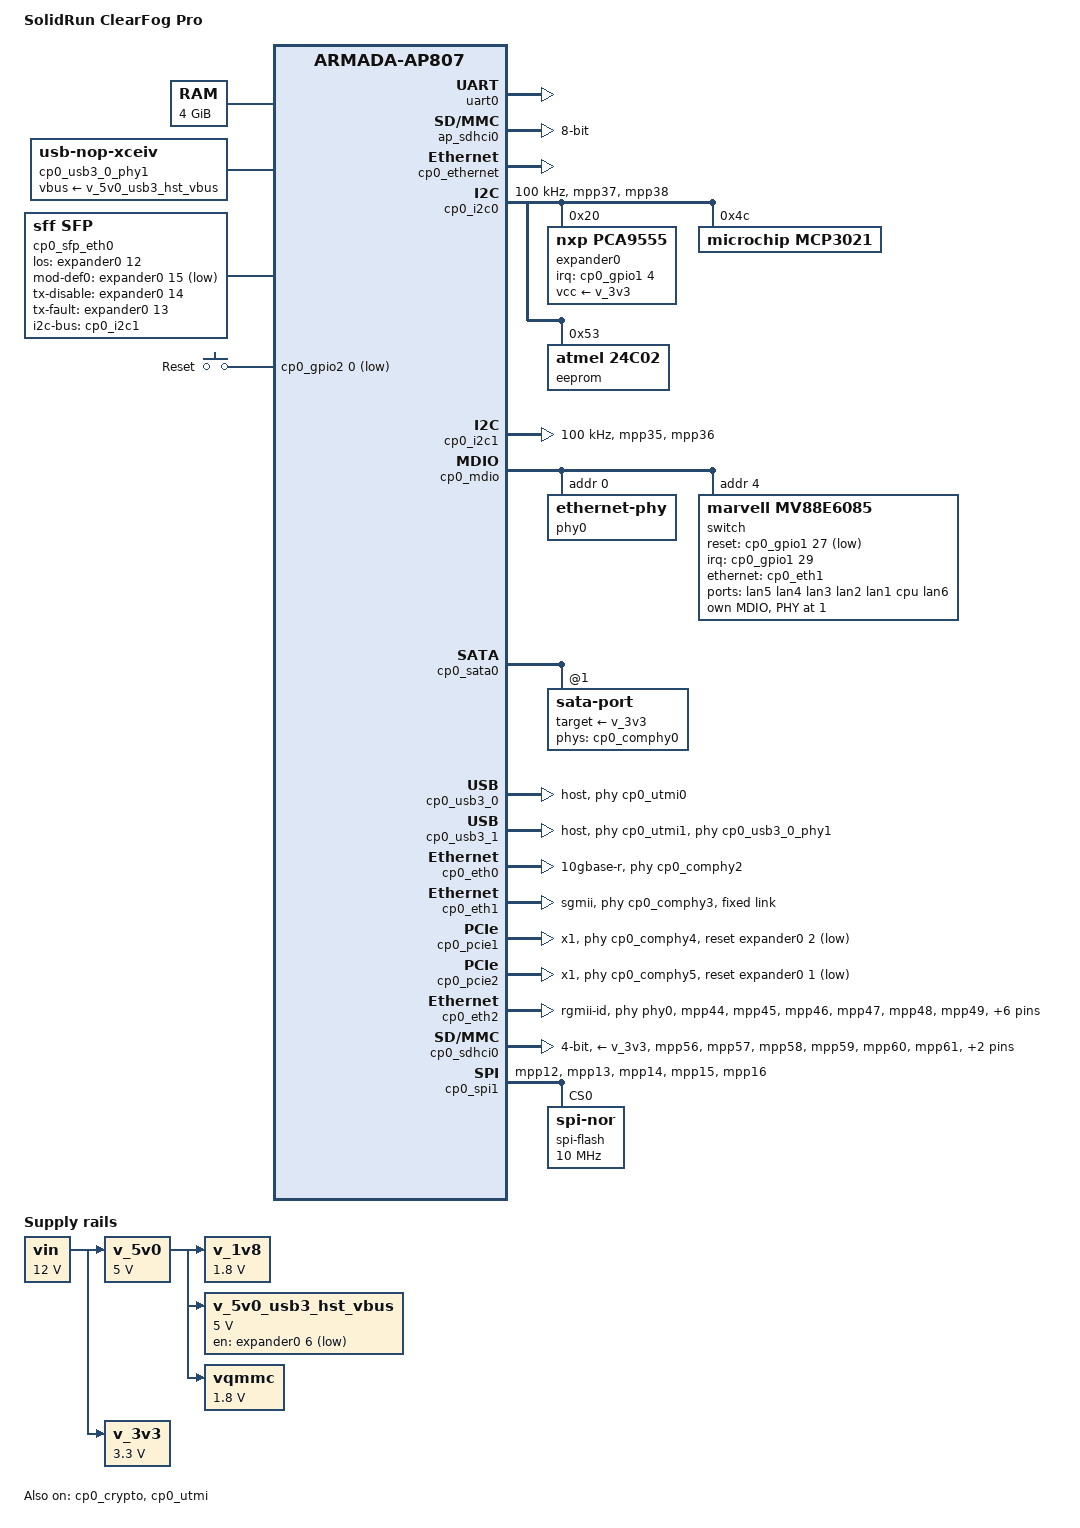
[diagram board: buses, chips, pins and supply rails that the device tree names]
// SPDX-License-Identifier: (GPL-2.0+ OR MIT)
/*
 * Copyright SolidRun Ltd.
 * Copyright (C) 2024 Tobias Schramm <tobias@t-sys.eu>
 *
 * Device tree for the CN9130-based ClearFog Pro
 */

#include "cn9130.dtsi"

#include <dt-bindings/gpio/gpio.h>
#include <dt-bindings/input/input.h>

/ {
	model = "SolidRun ClearFog Pro";
	compatible = "solidrun,clearfog-pro", "marvell,armada-ap807-quad",
		     "marvell,armada-ap807";

	chosen {
		stdout-path = "serial0:115200n8";
	};

	aliases {
		gpio1 = &cp0_gpio1;
		gpio2 = &cp0_gpio2;
		i2c0 = &cp0_i2c0;
		ethernet0 = &cp0_eth0;
		ethernet1 = &cp0_eth1;
		ethernet2 = &cp0_eth2;
		spi1 = &cp0_spi1;
	};

	memory@00000000 {
		reg = <0x0 0x0 0x1 0x0>;
		device_type = "memory";
	};

	/* Virtual regulator, root of power tree */
	vin: regulator-vin {
		compatible = "regulator-fixed";
		regulator-name = "vin";
		regulator-always-on;
		regulator-min-microvolt = <12000000>;
		regulator-max-microvolt = <12000000>;
	};

	/* Regulators supplied by vin */
	v_5v0: regulator-v_5v0 {
		compatible = "regulator-fixed";
		regulator-name = "v_5v0";
		regulator-always-on;
		regulator-min-microvolt = <5000000>;
		regulator-max-microvolt = <5000000>;
		vin-supply = <&vin>;
	};

	v_3v3: regulator-v_3v3 {
		compatible = "regulator-fixed";
		regulator-name = "v_3v3";
		regulator-always-on;
		regulator-min-microvolt = <3300000>;
		regulator-max-microvolt = <3300000>;
		vin-supply = <&vin>;
	};

	/* Regulators supplied by v_5v0 */
	v_1v8: regulator-v_1v8 {
		compatible = "regulator-fixed";
		regulator-name = "v_1v8";
		regulator-always-on;
		regulator-min-microvolt = <1800000>;
		regulator-max-microvolt = <1800000>;
		vin-supply = <&v_5v0>;
	};

	v_5v0_usb3_hst_vbus: regulator-v_5v0_usb3_hst_vbus {
		compatible = "regulator-fixed";
		regulator-name = "v_5v0_usb3_hst_vbus";
		regulator-min-microvolt = <5000000>;
		regulator-max-microvolt = <5000000>;
		gpios = <&expander0 6 GPIO_ACTIVE_LOW>;
		vin-supply = <&v_5v0>;
	};

	/* Regulators internal to SOM */
	vqmmc: regulator-vqmmc {
		compatible = "regulator-fixed";
		regulator-name = "vqmmc";
		regulator-always-on;
		regulator-min-microvolt = <1800000>;
		regulator-max-microvolt = <1800000>;
		vin-supply = <&v_5v0>;
	};

	cp0_usb3_0_phy1: cp0_usb3_phy@1 {
		compatible = "usb-nop-xceiv";
		vbus-supply = <&v_5v0_usb3_hst_vbus>;
	};

	cp0_sfp_eth0: sfp-eth@0 {
		compatible = "sff,sfp";
		i2c-bus = <&cp0_i2c1>;
		los-gpio = <&expander0 12 GPIO_ACTIVE_HIGH>;
		mod-def0-gpio = <&expander0 15 GPIO_ACTIVE_LOW>;
		tx-disable-gpio = <&expander0 14 GPIO_ACTIVE_HIGH>;
		tx-fault-gpio = <&expander0 13 GPIO_ACTIVE_HIGH>;
		maximum-power-milliwatt = <2000>;
	};

	keys {
		compatible = "gpio-keys";
		pinctrl-names = "default";
		pinctrl-0 = <&cp0_button_pin>;

		reset {
			label = "Reset";
			linux,code = <KEY_RESTART>;
			gpios = <&cp0_gpio2 0 GPIO_ACTIVE_LOW>;
		};
	};
};

&uart0 {
	status = "okay";
};

/* on-board eMMC  */
&ap_sdhci0 {
	bus-width = <8>;
	pinctrl-names = "default";
	vqmmc-supply = <&vqmmc>;
	status = "okay";
};

&cp0_crypto {
	status = "okay";
};

&cp0_ethernet {
	status = "okay";
};

&cp0_gpio1 {
	status = "okay";
};

&cp0_gpio2 {
	status = "okay";
};

&cp0_i2c0 {
	status = "okay";
	pinctrl-names = "default";
	pinctrl-0 = <&cp0_i2c0_pins>;
	clock-frequency = <100000>;

	/*
	 * PCA9655 GPIO expander, up to 1MHz clock.
	 *  0-CON3 CLKREQ#
	 *  1-CON3 PERST#
	 *  2-CON2 PERST#
	 *  3-CON3 W_DISABLE
	 *  4-CON2 CLKREQ#
	 *  5-USB3 overcurrent
	 *  6-USB3 power
	 *  7-CON2 W_DISABLE
	 *  8-JP4 P1
	 *  9-JP4 P4
	 * 10-JP4 P5
	 * 11-m.2 DEVSLP
	 * 12-SFP_LOS
	 * 13-SFP_TX_FAULT
	 * 14-SFP_TX_DISABLE
	 * 15-SFP_MOD_DEF0
	 */
	expander0: gpio-expander@20 {
		compatible = "nxp,pca9555";
		reg = <0x20>;
		gpio-controller;
		#gpio-cells = <2>;
		interrupt-controller;
		#interrupt-cells = <2>;
		interrupt-parent = <&cp0_gpio1>;
		interrupts = <4 IRQ_TYPE_LEVEL_LOW>;
		pinctrl-names = "default";
		pinctrl-0 = <&cp0_expander0_pins>;
		vcc-supply = <&v_3v3>;

		pcie1_0_clkreq {
			gpio-hog;
			gpios = <0 GPIO_ACTIVE_LOW>;
			input;
			line-name = "pcie1.0-clkreq";
		};

		pcie1_0_w_disable {
			gpio-hog;
			gpios = <3 GPIO_ACTIVE_LOW>;
			output-low;
			line-name = "pcie1.0-w-disable";
		};

		pcie2_0_clkreq {
			gpio-hog;
			gpios = <4 GPIO_ACTIVE_LOW>;
			input;
			line-name = "pcie2.0-clkreq";
		};

		pcie2_0_w_disable {
			gpio-hog;
			gpios = <7 GPIO_ACTIVE_LOW>;
			output-low;
			line-name = "pcie2.0-w-disable";
		};

		usb3_ilimit {
			gpio-hog;
			gpios = <5 GPIO_ACTIVE_LOW>;
			input;
			line-name = "usb3-current-limit";
		};

		m2_devslp {
			gpio-hog;
			gpios = <11 GPIO_ACTIVE_HIGH>;
			output-low;
			line-name = "m.2 devslp";
		};
	};

	/* ADC only for mikroBUS connector */
	mcp3021@4c {
		compatible = "microchip,mcp3021";
		reg = <0x4c>;
	};

	/* EEPROM on the SOM */
	eeprom@53 {
		compatible = "atmel,24c02";
		reg = <0x53>;
		pagesize = <16>;
		read-only;

		nvmem-layout {
			compatible = "onie,tlv-layout";

			onie_tlv_macaddr: mac-address {
				#nvmem-cell-cells = <1>;
			};
		};
	};
};

/* SMBUS on mini PCIe sockets */
&cp0_i2c1 {
	status = "okay";
	pinctrl-names = "default";
	pinctrl-0 = <&cp0_i2c1_pins>;
	clock-frequency = <100000>;
};

&cp0_mdio {
	status = "okay";

	phy0: ethernet-phy@0 {
		reg = <0>;
		/* Green led blinks on activity, orange LED on link */
		marvell,reg-init = <3 16 0 0x0064>;
	};

	switch@4 {
		compatible = "marvell,mv88e6085";
		reg = <4>;
		interrupt-controller;
		#interrupt-cells = <2>;
		interrupt-parent = <&cp0_gpio1>;
		interrupts = <29 IRQ_TYPE_LEVEL_LOW>;
		pinctrl-names = "default";
		pinctrl-0 = <&cp0_dsa0_pins>;
		reset-gpios = <&cp0_gpio1 27 GPIO_ACTIVE_LOW>;

		mdio-external {
			compatible = "marvell,mv88e6xxx-mdio-external";
			#address-cells = <1>;
			#size-cells = <0>;

			/* 88E1512 PHY */
			port6_phy: ethernet-phy@1 {
				reg = <1>;
			};
		};

		ports {
			#address-cells = <1>;
			#size-cells = <0>;

			port@0 {
				reg = <0>;
				label = "lan5";
			};

			port@1 {
				reg = <1>;
				label = "lan4";
			};

			port@2 {
				reg = <2>;
				label = "lan3";
			};

			port@3 {
				reg = <3>;
				label = "lan2";
			};

			port@4 {
				reg = <4>;
				label = "lan1";
			};

			port@5 {
				reg = <5>;
				ethernet = <&cp0_eth1>;
				label = "cpu";
				phy-mode = "rgmii-id";

				fixed-link {
					speed = <1000>;
					full-duplex;
				};
			};

			port@6 {
				/* 88E1512 external phy */
				reg = <6>;
				label = "lan6";
				phy-handle = <&port6_phy>;
				phy-mode = "rgmii-id";
			};
		};
	};
};

/* SRDS #0 - SATA on bottom M.2 B-Key connector */
&cp0_sata0 {
	status = "okay";

	sata-port@0 {
		status = "disabled";
	};

	sata-port@1 {
		phys = <&cp0_comphy0 1>;
		target-supply = <&v_3v3>;
	};
};

&cp0_utmi {
	status = "okay";
};

/* mini PCIe slot far from SOM, USB 2.0 only, SS lanes unused */
&cp0_usb3_0 {
	status = "okay";
	phys = <&cp0_utmi0>;
	phy-names = "utmi";
	dr_mode = "host";
};

/* SRDS #1 - USB-A 3.0 host port */
&cp0_usb3_1 {
	status = "okay";
	phys = <&cp0_utmi1>, <&cp0_comphy1 0>;
	phy-names = "utmi", "usb";
	usb-phy = <&cp0_usb3_0_phy1>;
	dr_mode = "host";
};

/* SRDS #2 - SFP+ 10GE */
&cp0_eth0 {
	status = "okay";
	phy-mode = "10gbase-r";
	phys = <&cp0_comphy2 0>;
	managed = "in-band-status";
	nvmem-cells = <&onie_tlv_macaddr 0>;
	nvmem-cell-names = "mac-address";
	sfp = <&cp0_sfp_eth0>;
};

/* SRDS #3 - SGMII 1GE to L2 switch */
&cp0_eth1 {
	status = "okay";
	phys = <&cp0_comphy3 1>;
	phy-mode = "sgmii";
	nvmem-cells = <&onie_tlv_macaddr 1>;
	nvmem-cell-names = "mac-address";

	fixed-link {
		speed = <1000>;
		full-duplex;
	};
};

/* SRDS #4 - mini PCIe slot near SOM */
&cp0_pcie1 {
	status = "okay";
	phys = <&cp0_comphy4 1>;
	num-lanes = <1>;
	reset-gpios = <&expander0 2 GPIO_ACTIVE_LOW>;
};

/* SRDS #5 - mini PCIe slot far from SOM */
&cp0_pcie2 {
	status = "okay";
	phys = <&cp0_comphy5 2>;
	num-lanes = <1>;
	reset-gpios = <&expander0 1 GPIO_ACTIVE_LOW>;
};

/* GE PHY RGMII */
&cp0_eth2 {
	status = "okay";
	pinctrl-names = "default";
	pinctrl-0 = <&cp0_ge2_rgmii_pins>;
	phy = <&phy0>;
	phy-mode = "rgmii-id";
	nvmem-cells = <&onie_tlv_macaddr 2>;
	nvmem-cell-names = "mac-address";
};

/* micro SD card slot */
&cp0_sdhci0 {
	status = "okay";
	pinctrl-names = "default";
	pinctrl-0 = <&cp0_sdhci_pins &cp0_sdhci_cd_pins>;
	bus-width = <4>;
	cd-gpios = <&cp0_gpio2 11 GPIO_ACTIVE_LOW>;
	no-1-8-v;
	vqmmc-supply = <&v_3v3>;
	vmmc-supply = <&v_3v3>;
};

&cp0_spi1 {
	status = "okay";
	pinctrl-names = "default";
	pinctrl-0 = <&cp0_spi1_pins>;

	spi-flash@0 {
		compatible = "jedec,spi-nor";
		reg = <0x0>;
		#address-cells = <0x1>;
		#size-cells = <0x1>;
		spi-max-frequency = <10000000>;
	};
};

&cp0_syscon0 {
	cp0_pinctrl: pinctrl {
		compatible = "marvell,cp115-standalone-pinctrl";

		cp0_i2c0_pins: cp0-i2c0-pins {
			marvell,pins = "mpp37", "mpp38";
			marvell,function = "i2c0";
		};

		cp0_i2c1_pins: cp0-i2c1-pins {
			marvell,pins = "mpp35", "mpp36";
			marvell,function = "i2c1";
		};

		cp0_ge2_rgmii_pins: cp0-ge2-rgmii-pins {
			marvell,pins = "mpp44", "mpp45", "mpp46",
				       "mpp47", "mpp48", "mpp49",
				       "mpp50", "mpp51", "mpp52",
				       "mpp53", "mpp54", "mpp55";
			marvell,function = "ge1";
		};

		cp0_sdhci_cd_pins: cp0-sdhci-cd-pins {
			marvell,pins = "mpp43";
			marvell,function = "sdio";
		};

		cp0_sdhci_pins: cp0-sdhci-pins {
			marvell,pins = "mpp56", "mpp57", "mpp58",
				       "mpp59", "mpp60", "mpp61";
			marvell,function = "sdio";
		};

		cp0_spi1_pins: cp0-spi1-pins {
			marvell,pins = "mpp12", "mpp13", "mpp14",
				       "mpp15", "mpp16";
			marvell,function = "spi1";
		};

		cp0_dsa0_pins: cp0-dsa0-pins {
			marvell,pins = "mpp27", "mpp29";
			marvell,function = "gpio";
		};

		cp0_button_pin: cp0-button-pin {
			marvell,pins = "mpp32";
			marvell,function = "gpio";
		};

		cp0_expander0_pins: cp0-expander0-pins {
			marvell,pins = "mpp4";
			marvell,function = "gpio";
		};
	};
};
